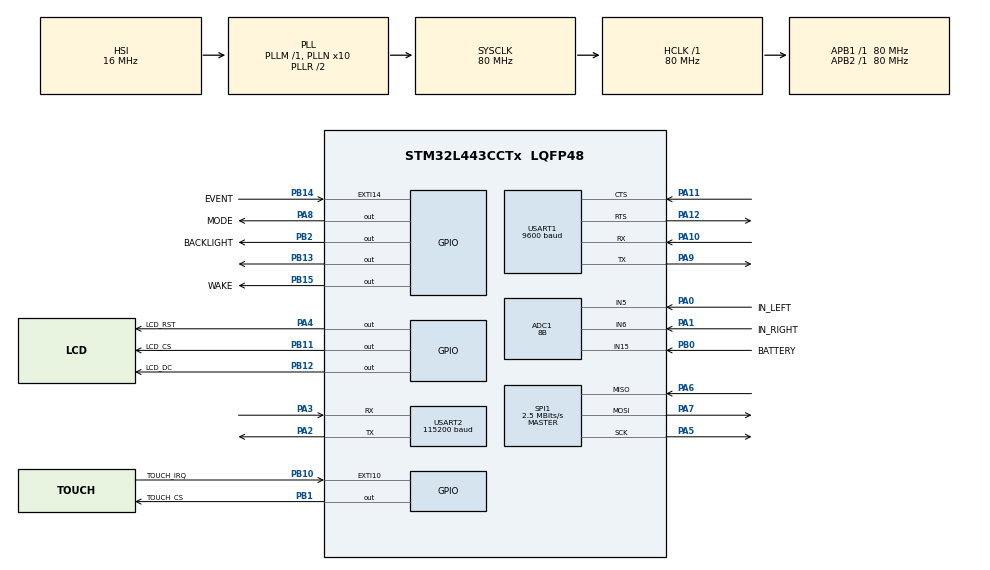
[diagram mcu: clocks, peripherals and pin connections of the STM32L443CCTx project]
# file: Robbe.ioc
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ADC1.Channel-1\#ChannelRegularConversion=ADC_CHANNEL_6
ADC1.EOCSelection=ADC_EOC_SINGLE_CONV
ADC1.ExternalTrigConv=ADC_EXTERNALTRIG_T2_TRGO
ADC1.NbrOfConversion=1
ADC1.NbrOfConversionFlag=1
ADC1.OffsetNumber-1\#ChannelRegularConversion=ADC_OFFSET_NONE
ADC1.Rank-1\#ChannelRegularConversion=1
ADC1.Resolution=ADC_RESOLUTION_8B
ADC1.SamplingTime-1\#ChannelRegularConversion=ADC_SAMPLETIME_2CYCLES_5
ADC1.master=1
Dma.ADC1.0.Direction=DMA_PERIPH_TO_MEMORY
Dma.ADC1.0.Instance=DMA1_Channel1
Dma.ADC1.0.MemDataAlignment=DMA_MDATAALIGN_BYTE
Dma.ADC1.0.MemInc=DMA_MINC_ENABLE
Dma.ADC1.0.Mode=DMA_NORMAL
Dma.ADC1.0.PeriphDataAlignment=DMA_PDATAALIGN_BYTE
Dma.ADC1.0.PeriphInc=DMA_PINC_DISABLE
Dma.ADC1.0.Priority=DMA_PRIORITY_LOW
Dma.Request0=ADC1
Mcu.Family=STM32L4
Mcu.Name=STM32L443CCTx
Mcu.Package=LQFP48
NVIC.DMA1_Channel1_IRQn=true\:0\:0\:false\:false\:true\:false\:true
NVIC.PriorityGroup=NVIC_PRIORITYGROUP_4
PA0.GPIO_Label=IN_LEFT
PA0.Signal=ADCx_IN5
PA1.GPIO_Label=IN_RIGHT
PA1.Signal=ADCx_IN6
PA10.Mode=Asynchronous
PA10.Signal=USART1_RX
PA11.Mode=CTS_RTS
PA11.Signal=USART1_CTS
PA12.Mode=CTS_RTS
PA12.Signal=USART1_RTS
PA13\ (JTMS-SWDIO).Mode=Serial_Wire
PA13\ (JTMS-SWDIO).Signal=SYS_JTMS-SWDIO
PA14\ (JTCK-SWCLK).Mode=Serial_Wire
PA14\ (JTCK-SWCLK).Signal=SYS_JTCK-SWCLK
PA2.Mode=Asynchronous
PA2.Signal=USART2_TX
PA3.Mode=Asynchronous
PA3.Signal=USART2_RX
PA4.GPIO_Label=LCD_RST
PA4.Signal=GPIO_Output
PA5.Mode=Full_Duplex_Master
PA5.Signal=SPI1_SCK
PA6.Mode=Full_Duplex_Master
PA6.Signal=SPI1_MISO
PA7.Mode=Full_Duplex_Master
PA7.Signal=SPI1_MOSI
PA8.GPIO_Label=MODE
PA8.GPIO_ModeDefaultOutputPP=GPIO_MODE_OUTPUT_OD
PA8.GPIO_PuPd=GPIO_PULLUP
PA8.PinState=GPIO_PIN_RESET
PA8.Signal=GPIO_Output
PA9.Mode=Asynchronous
PA9.Signal=USART1_TX
PB0.GPIO_Label=BATTERY
PB0.Signal=ADCx_IN15
PB1.GPIO_Label=TOUCH_CS
PB1.Signal=GPIO_Output
PB10.GPIO_Label=TOUCH_IRQ
PB10.GPIO_PuPd=GPIO_PULLUP
PB10.Signal=GPXTI10
PB11.GPIO_Label=LCD_CS
PB11.Signal=GPIO_Output
PB12.GPIO_Label=LCD_DC
PB12.Signal=GPIO_Output
PB13.GPIO_Speed=GPIO_SPEED_FREQ_VERY_HIGH
PB13.Signal=GPIO_Output
PB14.GPIO_Label=EVENT
PB14.Signal=GPXTI14
PB15.GPIO_Label=WAKE
PB15.GPIO_ModeDefaultOutputPP=GPIO_MODE_OUTPUT_OD
PB15.GPIO_PuPd=GPIO_PULLUP
PB15.PinState=GPIO_PIN_SET
PB15.Signal=GPIO_Output
PB2.GPIO_Label=BACKLIGHT
PB2.Signal=GPIO_Output
PH0-OSC_IN\ (PH0).Mode=HSE-External-Oscillator
PH0-OSC_IN\ (PH0).Signal=RCC_OSC_IN
PH1-OSC_OUT\ (PH1).Mode=HSE-External-Oscillator
PH1-OSC_OUT\ (PH1).Signal=RCC_OSC_OUT
ProjectManager.HeapSize=0x200
ProjectManager.StackSize=0x400
ProjectManager.TargetToolchain=SW4STM32
RCC.ADCFreq_Value=64000000
RCC.AHBFreq_Value=80000000
RCC.APB1Freq_Value=80000000
RCC.APB1TimFreq_Value=80000000
RCC.APB2Freq_Value=80000000
RCC.APB2TimFreq_Value=80000000
RCC.CortexFreq_Value=80000000
RCC.HCLKFreq_Value=80000000
RCC.HSE_VALUE=8000000
RCC.HSI48_VALUE=48000000
RCC.HSI_VALUE=16000000
RCC.LSE_VALUE=32768
RCC.MSI_VALUE=4000000
RCC.PLLN=10
RCC.PLLSourceVirtual=RCC_PLLSOURCE_HSI
RCC.SYSCLKFreq_VALUE=80000000
RCC.SYSCLKSource=RCC_SYSCLKSOURCE_PLLCLK
RCC.USBFreq_Value=64000000
RCC.VCOOutputFreq_Value=160000000
SH.ADCx_IN15.0=ADC1_IN15,IN15-Single-Ended
SH.ADCx_IN5.0=ADC1_IN5,IN5-Single-Ended
SH.ADCx_IN6.0=ADC1_IN6,IN6-Single-Ended
SPI1.BaudRatePrescaler=SPI_BAUDRATEPRESCALER_32
SPI1.CalculateBaudRate=2.5 MBits/s
SPI1.DataSize=SPI_DATASIZE_8BIT
SPI1.Direction=SPI_DIRECTION_2LINES
SPI1.Mode=SPI_MODE_MASTER
SPI1.VirtualType=VM_MASTER
TIM1.Period=60-1
TIM2.AutoReloadPreload=TIM_AUTORELOAD_PRELOAD_ENABLE
TIM2.CounterMode=TIM_COUNTERMODE_DOWN
TIM2.Period=100
TIM2.Prescaler=10000
TIM2.TIM_MasterOutputTrigger=TIM_TRGO_UPDATE
USART1.BaudRate=9600
USART1.VirtualMode-Asynchronous=VM_ASYNC
USART2.BaudRate=115200
USART2.VirtualMode-Asynchronous=VM_ASYNC
VP_TIM1_VS_ClockSourceINT.Mode=Internal
VP_TIM2_VS_ClockSourceINT.Mode=Internal
board=custom

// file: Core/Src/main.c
/* USER CODE BEGIN Header */
/**
  ******************************************************************************
  * @file           : main.c
  * @brief          : Main program body
  ******************************************************************************
  * @attention
  *
  * <h2><center>&copy; Copyright (c) 2021 STMicroelectronics.
  * All rights reserved.</center></h2>
  *
  * This software component is licensed by ST under BSD 3-Clause license,
  * the "License"; You may not use this file except in compliance with the
  * License. You may obtain a copy of the License at:
  *                        opensource.org/licenses/BSD-3-Clause
  *
  ******************************************************************************
  */
/* USER CODE END Header */
#include "main.h"

/* USER CODE BEGIN Includes */
#include "ili9341.h"
#include "test.h"
#include "connect.h"
#include <stdio.h>
//#include "ili9341_touch.h";
/* USER CODE END Includes */

/* USER CODE BEGIN PD */
#define PWM_HI (38)
#define PWM_LO (19)

// LED parameters
#define NUM_BPP (3)
#define NUM_PIXELS (24)
#define NUM_BYTES (NUM_BPP * NUM_PIXELS)

//led timing calculated for 80MHz clock speed
#define WSONEH	20
#define WSONEL	11
#define WSZEROH	10
#define WSZEROL	21

//led pins
#define LEDPORT	GPIOB
#define LEDPIN	GPIO_PIN_13

/* USER CODE END PD */

/* USER CODE BEGIN PM */
#define SETHIGH(x,y) ((x)->BSRR = (uint32_t)(y))
#define SETLOW(x,y) ((x)->BRR = (uint32_t)(y))
#define WSONE 	do{ SETHIGH(LEDPORT,LEDPIN); waitCycles(WSONEH); SETLOW(LEDPORT,LEDPIN); waitCycles(WSONEL);}while (0);
#define WSZERO 	do{ SETHIGH(LEDPORT,LEDPIN); waitCycles(WSZEROH); SETLOW(LEDPORT,LEDPIN); waitCycles(WSZEROL);}while (0);
/* USER CODE END PM */

ADC_HandleTypeDef hadc1;
DMA_HandleTypeDef hdma_adc1;

SPI_HandleTypeDef hspi1;

TIM_HandleTypeDef htim1;
TIM_HandleTypeDef htim2;

UART_HandleTypeDef huart1;
UART_HandleTypeDef huart2;

/* USER CODE BEGIN PV */
//variables for led effects
uint8_t red=130, blue, green;

//led enable, batterijbesparing
uint8_t ENABLE_LEDS=1;

//coordinates touch
uint16_t x, y;

//battery voltage
char *Ubat;
uint8_t ready=0;
//max value voor ingelezen waarde
uint16_t testValue=0;

//pointer voor adc
uint8_t pointer[80];

//led buffer
uint8_t ledBuffer[NUM_BYTES];

/* USER CODE END PV */

void SystemClock_Config(void);
static void MX_GPIO_Init(void);
static void MX_DMA_Init(void);
static void MX_SPI1_Init(void);
static void MX_USART1_UART_Init(void);
static void MX_ADC1_Init(void);
static void MX_USART2_UART_Init(void);
static void MX_TIM1_Init(void);
static void MX_TIM2_Init(void);
/* USER CODE BEGIN PFP */
void __attribute__((naked)) waitCycles ( unsigned long ulCount ) ;
void ledClearBuffer ( void );
void setLedColor ( uint8_t ledIndex , uint8_t r , uint8_t g , uint8_t b ) ;
void updateLed ( void ) ;
void Check_ADC ( void ) ;
void Led_Effect ( void ) ;
void LCD_DrawMenu ( void ) ;
void Check_Power ( void ) ;
/* USER CODE END PFP */

/* USER CODE BEGIN 0 */
#include <errno.h>
#include <sys/stat.h>
#include <sys/times.h>
#include <sys/unistd.h>

int _write ( int file , char *ptr , int len )
{
    HAL_StatusTypeDef xStatus ;
    switch ( file )
    {
    	case STDOUT_FILENO: /*stdout*/
    		xStatus = HAL_UART_Transmit ( &huart1 , ( uint8_t* ) ptr , len , HAL_MAX_DELAY ) ;
    		if ( xStatus != HAL_OK )
    		{
    			errno = EIO ;
    			return -1 ;
    		}
        break ;
    	case STDERR_FILENO: /* stderr */
    		xStatus = HAL_UART_Transmit ( &huart1 , ( uint8_t* ) ptr , len , HAL_MAX_DELAY ) ;
    		if ( xStatus != HAL_OK )
    		{
    			errno = EIO;
    			return -1 ;
    		}
    	break ;
    	default:
    		errno = EBADF ;
    		return -1 ;
    }
    return len ;
}
//volatile uint8_t ready = 0;
/*void HAL_ADC_ConvCpltCallback(ADC_HandleTypeDef* hadc) //functie wordt opgeroepen als conversie klaar is (callback)
{
    // Conversion Complete & DMA Transfer Complete As Well
    // So The AD_RES Is Now Updated & Let's Move IT To The PWM CCR1
    // Update The PWM Duty Cycle With Latest ADC Conversion Result

	HAL_ADC_Stop_DMA(&hadc1); //adc stond op continuous ingesteld
	//setLedColor(1, 0, 0, 0);
	//updateLed();
	ready = 1;
//	for(int i = 0; i<20; i++){
//		printf("int%d: %d \n\r",i, pointer[i]);
//	}
//	memset(pointer,'\0',20);
//	HAL_ADC_Start_DMA(&hadc3, (uint32_t*)&pointer[0], 20);
}*/
/* USER CODE END 0 */

int main(void)
{

  /* MCU Configuration--------------------------------------------------------*/

  /* Reset of all peripherals, Initializes the Flash interface and the Systick. */
  HAL_Init();

  /* Configure the system clock */
  SystemClock_Config();

  /* Initialize all configured peripherals */
  MX_GPIO_Init();
  MX_DMA_Init();
  MX_SPI1_Init();
  MX_USART1_UART_Init();
  MX_ADC1_Init();
  MX_USART2_UART_Init();
  MX_TIM1_Init();
  MX_TIM2_Init();
  /* USER CODE BEGIN 2 */
  //HAL_ADC_Start( &hadc1 );
  HAL_StatusTypeDef stat ;
  stat = HAL_ADC_Start_DMA ( &hadc1 , ( uint32_t* ) &pointer[0] , 80 ) ;
      if ( stat != HAL_OK )
      {
    	  //setLedColor ( 1 , 0 , 0 , 0 ) ; // (index, r, g, b)
    	  //updateLed ( ) ; //kleur op ledje(s) zetten
      }

      stat = HAL_TIM_Base_Start_IT ( &htim2 ) ;
      if ( stat != HAL_OK )
      {
    	  //setLedColor ( 1 , 0 , 0 , 0 ) ; // (index, g, r, b)
    	  //updateLed ( ) ; //kleur op ledje(s) zetten
      }

	  //alles initialiseren
	  ILI9341_Unselect ( ) ;
	  ILI9341_TouchUnselect ( ) ;
	  ILI9341_LCD_Init ( ) ;
	  //ILI9341_TouchSelect();

	  HAL_GPIO_WritePin ( BACKLIGHT_GPIO_Port , BACKLIGHT_Pin , GPIO_PIN_SET ) ;
	  HAL_GPIO_WritePin ( MODE_GPIO_Port , MODE_Pin , GPIO_PIN_RESET ) ;

	  LCD_FillScreen ( LCD_BLACK ) ; //"clear" screen
	  ledClearBuffer ( ) ; //inhoud buffer = cleared
	  //alle leds uit
	  for ( uint8_t i = 1 ; i<25 ; i++ )
	  {
	  		setLedColor ( i , 0 , 0 , 0 ) ;
	  		updateLed ( ) ;
	  }
  /* USER CODE END 2 */

  /* Infinite loop */
  while (1)
  {

    /* USER CODE BEGIN 3 */

	//Check_ADC();
	LCD_DrawMenu ( ) ;
	Check_Power ( ) ;
	Led_Effect ( ) ;

	//Even wachten
	HAL_Delay ( 100 ) ;
  }
  /* USER CODE END 3 */
}

void SystemClock_Config(void)
{
  RCC_OscInitTypeDef RCC_OscInitStruct = {0};
  RCC_ClkInitTypeDef RCC_ClkInitStruct = {0};
  RCC_PeriphCLKInitTypeDef PeriphClkInit = {0};

  /** Initializes the RCC Oscillators according to the specified parameters
  * in the RCC_OscInitTypeDef structure.
  */
  RCC_OscInitStruct.OscillatorType = RCC_OSCILLATORTYPE_HSI;
  RCC_OscInitStruct.HSIState = RCC_HSI_ON;
  RCC_OscInitStruct.HSICalibrationValue = RCC_HSICALIBRATION_DEFAULT;
  RCC_OscInitStruct.PLL.PLLState = RCC_PLL_ON;
  RCC_OscInitStruct.PLL.PLLSource = RCC_PLLSOURCE_HSI;
  RCC_OscInitStruct.PLL.PLLM = 1;
  RCC_OscInitStruct.PLL.PLLN = 10;
  RCC_OscInitStruct.PLL.PLLP = RCC_PLLP_DIV7;
  RCC_OscInitStruct.PLL.PLLQ = RCC_PLLQ_DIV2;
  RCC_OscInitStruct.PLL.PLLR = RCC_PLLR_DIV2;
  if (HAL_RCC_OscConfig(&RCC_OscInitStruct) != HAL_OK)
  {
    Error_Handler();
  }
  /** Initializes the CPU, AHB and APB buses clocks
  */
  RCC_ClkInitStruct.ClockType = RCC_CLOCKTYPE_HCLK|RCC_CLOCKTYPE_SYSCLK
                              |RCC_CLOCKTYPE_PCLK1|RCC_CLOCKTYPE_PCLK2;
  RCC_ClkInitStruct.SYSCLKSource = RCC_SYSCLKSOURCE_PLLCLK;
  RCC_ClkInitStruct.AHBCLKDivider = RCC_SYSCLK_DIV1;
  RCC_ClkInitStruct.APB1CLKDivider = RCC_HCLK_DIV1;
  RCC_ClkInitStruct.APB2CLKDivider = RCC_HCLK_DIV1;

  if (HAL_RCC_ClockConfig(&RCC_ClkInitStruct, FLASH_LATENCY_4) != HAL_OK)
  {
    Error_Handler();
  }
  PeriphClkInit.PeriphClockSelection = RCC_PERIPHCLK_USART1|RCC_PERIPHCLK_USART2
                              |RCC_PERIPHCLK_ADC;
  PeriphClkInit.Usart1ClockSelection = RCC_USART1CLKSOURCE_PCLK2;
  PeriphClkInit.Usart2ClockSelection = RCC_USART2CLKSOURCE_PCLK1;
  PeriphClkInit.AdcClockSelection = RCC_ADCCLKSOURCE_PLLSAI1;
  PeriphClkInit.PLLSAI1.PLLSAI1Source = RCC_PLLSOURCE_HSI;
  PeriphClkInit.PLLSAI1.PLLSAI1M = 1;
  PeriphClkInit.PLLSAI1.PLLSAI1N = 8;
  PeriphClkInit.PLLSAI1.PLLSAI1P = RCC_PLLP_DIV7;
  PeriphClkInit.PLLSAI1.PLLSAI1Q = RCC_PLLQ_DIV2;
  PeriphClkInit.PLLSAI1.PLLSAI1R = RCC_PLLR_DIV2;
  PeriphClkInit.PLLSAI1.PLLSAI1ClockOut = RCC_PLLSAI1_ADC1CLK;
  if (HAL_RCCEx_PeriphCLKConfig(&PeriphClkInit) != HAL_OK)
  {
    Error_Handler();
  }
  /** Configure the main internal regulator output voltage
  */
  if (HAL_PWREx_ControlVoltageScaling(PWR_REGULATOR_VOLTAGE_SCALE1) != HAL_OK)
  {
    Error_Handler();
  }
}

static void MX_ADC1_Init(void)
{

  ADC_ChannelConfTypeDef sConfig = {0};

  /** Common config
  */
  hadc1.Instance = ADC1;
  hadc1.Init.ClockPrescaler = ADC_CLOCK_ASYNC_DIV1;
  hadc1.Init.Resolution = ADC_RESOLUTION_8B;
  hadc1.Init.DataAlign = ADC_DATAALIGN_RIGHT;
  hadc1.Init.ScanConvMode = ADC_SCAN_DISABLE;
  hadc1.Init.EOCSelection = ADC_EOC_SINGLE_CONV;
  hadc1.Init.LowPowerAutoWait = DISABLE;
  hadc1.Init.ContinuousConvMode = DISABLE;
  hadc1.Init.NbrOfConversion = 1;
  hadc1.Init.DiscontinuousConvMode = DISABLE;
  hadc1.Init.ExternalTrigConv = ADC_EXTERNALTRIG_T2_TRGO;
  hadc1.Init.ExternalTrigConvEdge = ADC_EXTERNALTRIGCONVEDGE_RISING;
  hadc1.Init.DMAContinuousRequests = DISABLE;
  hadc1.Init.Overrun = ADC_OVR_DATA_PRESERVED;
  hadc1.Init.OversamplingMode = DISABLE;
  if (HAL_ADC_Init(&hadc1) != HAL_OK)
  {
    Error_Handler();
  }
  /** Configure Regular Channel
  */
  sConfig.Channel = ADC_CHANNEL_6;
  sConfig.Rank = ADC_REGULAR_RANK_1;
  sConfig.SamplingTime = ADC_SAMPLETIME_2CYCLES_5;
  sConfig.SingleDiff = ADC_SINGLE_ENDED;
  sConfig.OffsetNumber = ADC_OFFSET_NONE;
  sConfig.Offset = 0;
  if (HAL_ADC_ConfigChannel(&hadc1, &sConfig) != HAL_OK)
  {
    Error_Handler();
  }

}

static void MX_SPI1_Init(void)
{

  /* SPI1 parameter configuration*/
  hspi1.Instance = SPI1;
  hspi1.Init.Mode = SPI_MODE_MASTER;
  hspi1.Init.Direction = SPI_DIRECTION_2LINES;
  hspi1.Init.DataSize = SPI_DATASIZE_8BIT;
  hspi1.Init.CLKPolarity = SPI_POLARITY_LOW;
  hspi1.Init.CLKPhase = SPI_PHASE_1EDGE;
  hspi1.Init.NSS = SPI_NSS_SOFT;
  hspi1.Init.BaudRatePrescaler = SPI_BAUDRATEPRESCALER_32;
  hspi1.Init.FirstBit = SPI_FIRSTBIT_MSB;
  hspi1.Init.TIMode = SPI_TIMODE_DISABLE;
  hspi1.Init.CRCCalculation = SPI_CRCCALCULATION_DISABLE;
  hspi1.Init.CRCPolynomial = 7;
  hspi1.Init.CRCLength = SPI_CRC_LENGTH_DATASIZE;
  hspi1.Init.NSSPMode = SPI_NSS_PULSE_ENABLE;
  if (HAL_SPI_Init(&hspi1) != HAL_OK)
  {
    Error_Handler();
  }

}

static void MX_TIM1_Init(void)
{

  TIM_ClockConfigTypeDef sClockSourceConfig = {0};
  TIM_MasterConfigTypeDef sMasterConfig = {0};

  htim1.Instance = TIM1;
  htim1.Init.Prescaler = 0;
  htim1.Init.CounterMode = TIM_COUNTERMODE_UP;
  htim1.Init.Period = 60-1;
  htim1.Init.ClockDivision = TIM_CLOCKDIVISION_DIV1;
  htim1.Init.RepetitionCounter = 0;
  htim1.Init.AutoReloadPreload = TIM_AUTORELOAD_PRELOAD_DISABLE;
  if (HAL_TIM_Base_Init(&htim1) != HAL_OK)
  {
    Error_Handler();
  }
  sClockSourceConfig.ClockSource = TIM_CLOCKSOURCE_INTERNAL;
  if (HAL_TIM_ConfigClockSource(&htim1, &sClockSourceConfig) != HAL_OK)
  {
    Error_Handler();
  }
  sMasterConfig.MasterOutputTrigger = TIM_TRGO_RESET;
  sMasterConfig.MasterOutputTrigger2 = TIM_TRGO2_RESET;
  sMasterConfig.MasterSlaveMode = TIM_MASTERSLAVEMODE_DISABLE;
  if (HAL_TIMEx_MasterConfigSynchronization(&htim1, &sMasterConfig) != HAL_OK)
  {
    Error_Handler();
  }

}

static void MX_TIM2_Init(void)
{

  TIM_ClockConfigTypeDef sClockSourceConfig = {0};
  TIM_MasterConfigTypeDef sMasterConfig = {0};

  htim2.Instance = TIM2;
  htim2.Init.Prescaler = 10000;
  htim2.Init.CounterMode = TIM_COUNTERMODE_DOWN;
  htim2.Init.Period = 100;
  htim2.Init.ClockDivision = TIM_CLOCKDIVISION_DIV1;
  htim2.Init.AutoReloadPreload = TIM_AUTORELOAD_PRELOAD_ENABLE;
  if (HAL_TIM_Base_Init(&htim2) != HAL_OK)
  {
    Error_Handler();
  }
  sClockSourceConfig.ClockSource = TIM_CLOCKSOURCE_INTERNAL;
  if (HAL_TIM_ConfigClockSource(&htim2, &sClockSourceConfig) != HAL_OK)
  {
    Error_Handler();
  }
  sMasterConfig.MasterOutputTrigger = TIM_TRGO_UPDATE;
  sMasterConfig.MasterSlaveMode = TIM_MASTERSLAVEMODE_DISABLE;
  if (HAL_TIMEx_MasterConfigSynchronization(&htim2, &sMasterConfig) != HAL_OK)
  {
    Error_Handler();
  }

}

static void MX_USART1_UART_Init(void)
{

  huart1.Instance = USART1;
  huart1.Init.BaudRate = 9600;
  huart1.Init.WordLength = UART_WORDLENGTH_8B;
  huart1.Init.StopBits = UART_STOPBITS_1;
  huart1.Init.Parity = UART_PARITY_NONE;
  huart1.Init.Mode = UART_MODE_TX_RX;
  huart1.Init.HwFlowCtl = UART_HWCONTROL_RTS_CTS;
  huart1.Init.OverSampling = UART_OVERSAMPLING_16;
  huart1.Init.OneBitSampling = UART_ONE_BIT_SAMPLE_DISABLE;
  huart1.AdvancedInit.AdvFeatureInit = UART_ADVFEATURE_NO_INIT;
  if (HAL_UART_Init(&huart1) != HAL_OK)
  {
    Error_Handler();
  }

}

static void MX_USART2_UART_Init(void)
{

  huart2.Instance = USART2;
  huart2.Init.BaudRate = 115200;
  huart2.Init.WordLength = UART_WORDLENGTH_8B;
  huart2.Init.StopBits = UART_STOPBITS_1;
  huart2.Init.Parity = UART_PARITY_NONE;
  huart2.Init.Mode = UART_MODE_TX_RX;
  huart2.Init.HwFlowCtl = UART_HWCONTROL_NONE;
  huart2.Init.OverSampling = UART_OVERSAMPLING_16;
  huart2.Init.OneBitSampling = UART_ONE_BIT_SAMPLE_DISABLE;
  huart2.AdvancedInit.AdvFeatureInit = UART_ADVFEATURE_NO_INIT;
  if (HAL_UART_Init(&huart2) != HAL_OK)
  {
    Error_Handler();
  }

}

static void MX_DMA_Init(void)
{

  /* DMA controller clock enable */
  __HAL_RCC_DMA1_CLK_ENABLE();

  /* DMA interrupt init */
  /* DMA1_Channel1_IRQn interrupt configuration */
  HAL_NVIC_SetPriority(DMA1_Channel1_IRQn, 0, 0);
  HAL_NVIC_EnableIRQ(DMA1_Channel1_IRQn);

}

static void MX_GPIO_Init(void)
{
  GPIO_InitTypeDef GPIO_InitStruct = {0};

  /* GPIO Ports Clock Enable */
  __HAL_RCC_GPIOH_CLK_ENABLE();
  __HAL_RCC_GPIOA_CLK_ENABLE();
  __HAL_RCC_GPIOB_CLK_ENABLE();

  /*Configure GPIO pin Output Level */
  HAL_GPIO_WritePin(GPIOA, LCD_RST_Pin|MODE_Pin, GPIO_PIN_RESET);

  /*Configure GPIO pin Output Level */
  HAL_GPIO_WritePin(GPIOB, TOUCH_CS_Pin|BACKLIGHT_Pin|LCD_CS_Pin|LCD_DC_Pin
                          |GPIO_PIN_13, GPIO_PIN_RESET);

  /*Configure GPIO pin Output Level */
  HAL_GPIO_WritePin(WAKE_GPIO_Port, WAKE_Pin, GPIO_PIN_SET);

  /*Configure GPIO pin : LCD_RST_Pin */
  GPIO_InitStruct.Pin = LCD_RST_Pin;
  GPIO_InitStruct.Mode = GPIO_MODE_OUTPUT_PP;
  GPIO_InitStruct.Pull = GPIO_NOPULL;
  GPIO_InitStruct.Speed = GPIO_SPEED_FREQ_LOW;
  HAL_GPIO_Init(LCD_RST_GPIO_Port, &GPIO_InitStruct);

  /*Configure GPIO pins : TOUCH_CS_Pin BACKLIGHT_Pin LCD_CS_Pin LCD_DC_Pin */
  GPIO_InitStruct.Pin = TOUCH_CS_Pin|BACKLIGHT_Pin|LCD_CS_Pin|LCD_DC_Pin;
  GPIO_InitStruct.Mode = GPIO_MODE_OUTPUT_PP;
  GPIO_InitStruct.Pull = GPIO_NOPULL;
  GPIO_InitStruct.Speed = GPIO_SPEED_FREQ_LOW;
  HAL_GPIO_Init(GPIOB, &GPIO_InitStruct);

  /*Configure GPIO pin : TOUCH_IRQ_Pin */
  GPIO_InitStruct.Pin = TOUCH_IRQ_Pin;
  GPIO_InitStruct.Mode = GPIO_MODE_IT_RISING;
  GPIO_InitStruct.Pull = GPIO_PULLUP;
  HAL_GPIO_Init(TOUCH_IRQ_GPIO_Port, &GPIO_InitStruct);

  /*Configure GPIO pin : PB13 */
  GPIO_InitStruct.Pin = GPIO_PIN_13;
  GPIO_InitStruct.Mode = GPIO_MODE_OUTPUT_PP;
  GPIO_InitStruct.Pull = GPIO_NOPULL;
  GPIO_InitStruct.Speed = GPIO_SPEED_FREQ_VERY_HIGH;
  HAL_GPIO_Init(GPIOB, &GPIO_InitStruct);

  /*Configure GPIO pin : EVENT_Pin */
  GPIO_InitStruct.Pin = EVENT_Pin;
  GPIO_InitStruct.Mode = GPIO_MODE_IT_RISING;
  GPIO_InitStruct.Pull = GPIO_NOPULL;
  HAL_GPIO_Init(EVENT_GPIO_Port, &GPIO_InitStruct);

  /*Configure GPIO pin : WAKE_Pin */
  GPIO_InitStruct.Pin = WAKE_Pin;
  GPIO_InitStruct.Mode = GPIO_MODE_OUTPUT_OD;
  GPIO_InitStruct.Pull = GPIO_PULLUP;
  GPIO_InitStruct.Speed = GPIO_SPEED_FREQ_LOW;
  HAL_GPIO_Init(WAKE_GPIO_Port, &GPIO_InitStruct);

  /*Configure GPIO pin : MODE_Pin */
  GPIO_InitStruct.Pin = MODE_Pin;
  GPIO_InitStruct.Mode = GPIO_MODE_OUTPUT_OD;
  GPIO_InitStruct.Pull = GPIO_PULLUP;
  GPIO_InitStruct.Speed = GPIO_SPEED_FREQ_LOW;
  HAL_GPIO_Init(MODE_GPIO_Port, &GPIO_InitStruct);

}

/* USER CODE BEGIN 4 */
void __attribute__((naked)) waitCycles ( unsigned long ulCount )
{
    __asm("    subs    r0, #1\n"
          "    bne     waitCycles\n"
          "    bx      lr");
}

void ledClearBuffer ( void )
{
	memset ( ledBuffer , 0 , NUM_BYTES ) ;
}

void setLedColor ( uint8_t ledIndex , uint8_t r , uint8_t g , uint8_t b )
{
	ledIndex-- ;	//for people who ignore 0 -> suckers
	ledBuffer [ ledIndex * 3 ] = g ;
	ledBuffer [ (ledIndex * 3) + 1 ] = r ;
	ledBuffer [ (ledIndex * 3) + 2 ] = b ;
}

void updateLed ( void )
{
	uint8_t tempByte = 0x00 ;
	//time sensitive code, disable incoming interrupt requests
	__disable_irq ( ) ;
	//for every led
	for ( uint8_t i = 0 ; i < NUM_PIXELS ; i++ ) // 24 keer
	{
		//for every color
		for ( uint8_t j = 0 ; j < NUM_BPP ; j++ ) // 3 keer
		{
			tempByte = ledBuffer [ ( i * 3 ) + j ] ;
			//for every bit
			for ( uint8_t q = 0 ; q < 8 ; q++ )
			{
				if ( tempByte & ( 0x80 >> q ) )
				{
					WSONE
				}
				else
				{
					WSZERO
				}
			}
		}
	}
	__enable_irq ( ) ;
	HAL_Delay ( 1 ) ;
}

void Check_ADC()
{
	if ( ready )
	{
		Check_Power ( ) ;
		testValue = 0 ;
		//40MHz is frequentie bass
		//minstens het dubbele van gewenste frequentie gebruiken => 80
		//80MHz clock / (10.000 (prescaler) * 100 (Counter Period)) = 80Hz
		//80 samples tegen 80Hz => per seconde in deze loop komen
		for ( uint8_t i = 0 ; i < 80 ; i++ )//80 waarden binnenlezen en gemiddelde berekenen
		{
			testValue = testValue + pointer [ i ] ;
		}
		testValue = testValue / 80 ;

		//LCD_WriteString(0, 20, &testValue, Font_11x18, LCD_WHITE, LCD_BLACK);
		//waarde omzetten naar string (om op lcd te zetten)
		itoa ( testValue , pointer , 10 ) ;// 10 = decimal
		/*if(ENABLE_LEDS==1)
		{
			setLedColor( 2, 0, 0, pointer);
			updateLed();
		}
		else
		{
			for(uint8_t i = 1; i<25; i++)
			{
				setLedColor( i, 0, 0, 0);
				updateLed();
			}
		}*/
		LCD_WriteString (150 , 110 , pointer , Font_11x18 , LCD_WHITE , LCD_BLACK ) ;
		ready = 0 ;
		HAL_ADC_Start_DMA ( &hadc1 , ( uint32_t* ) &pointer [ 0 ] , 80 ) ;
	}

	// Starten van de ADC Conversie
	HAL_ADC_Start ( &hadc1 ) ;
	// Wachten tot de conversie gedaan is
	// timeout=1mS maar kijken we niet na
	HAL_ADC_PollForConversion ( &hadc1 , 1 ) ;
	// ADC waarde inlezen en printen
	uint16_t result = HAL_ADC_GetValue ( &hadc1 ) ;
	//printf("result = %d\r\n", result);
	Check_Power ( ) ;
}

void Led_Effect()
{
	if ( ENABLE_LEDS == 1 )
	{
		for (/*var already declared globally*/; red >= 0 , blue < 130 ; red-- , blue++ )
		{
			for ( uint8_t led_row = 1 ; led_row <= 12 ; led_row = led_row + 2 )
			{
				if ( ENABLE_LEDS == 1 )
				{
					setLedColor ( led_row , red , 0 , blue ) ;
					setLedColor ( led_row + 1 , red , 0 , blue ) ;
					setLedColor ( led_row + 12, red , 0 , blue ) ;
					setLedColor ( led_row + 13, red , 0 , blue ) ;
					updateLed ( ) ;
					Check_Power ( ) ;
					HAL_Delay ( 1 ) ;
				}
				else
				{
					for ( uint8_t i = 1 ; i < 25 ; i++ )
					{
						setLedColor ( i , 0 , 0 , 0 ) ;
						updateLed ( ) ;
					}
				}
			}
		}
		Check_Power ( ) ;

		for (/*var already declared globally*/; blue >= 0 , green < 130 ; blue-- , green++ )
		{
			for ( uint8_t led_row = 1 ; led_row <= 12 ; led_row = led_row + 2 )
			{
				if ( ENABLE_LEDS == 1 )
				{
					setLedColor ( led_row , 0 , green , blue ) ;
					setLedColor ( led_row + 1 , 0 , green , blue ) ;
					setLedColor ( led_row + 12 , 0 , green , blue ) ;
					setLedColor ( led_row + 13 , 0 , green , blue ) ;
					updateLed ( ) ;
					Check_Power ( ) ;
					HAL_Delay ( 1 ) ;
				}
				else
				{
					Check_Power ( ) ;
					for ( uint8_t i = 1 ; i < 25 ; i++ )
					{
						setLedColor ( i , 0 , 0 , 0 ) ;
						updateLed ( ) ;
					}
				}
			}
		}
		Check_Power ( ) ;

		for (/*var already declared globally*/; green >= 0 , red < 130 ; green-- , red++ )
		{
			for ( uint8_t led_row = 1 ; led_row <= 12 ; led_row = led_row + 2 )
			{
				if( ENABLE_LEDS == 1 )
				{
					setLedColor ( led_row , red , green , 0 ) ;
					setLedColor ( led_row + 1 , red , green , 0 ) ;
					setLedColor ( led_row + 12 , red , green , 0 ) ;
					setLedColor ( led_row+13 , red , green , 0 ) ;
					updateLed ( ) ;
					Check_Power ( ) ;
					HAL_Delay ( 1 ) ;
				}
				else
				{
					Check_Power ( ) ;
					for ( uint8_t i = 1 ; i < 25 ; i++ )
					{
						setLedColor ( i , 0 , 0 , 0 ) ;
						updateLed ( ) ;
					}
				}
			}
		}
		Check_Power ( ) ;

	}
	else
	{
		Check_Power ( ) ;
		for ( uint8_t i = 1 ; i < 25 ; i++ )
		{
			setLedColor ( i , 0 , 0 , 0 ) ;
			updateLed ( ) ;
		}
	}
}

void LCD_DrawMenu()
{
	LCD_DrawVLine ( 59 , 0 , 59 , 28 , LCD_YELLOW ) ;
	LCD_DrawHLine ( 0 , 28 , 59 , 28 , LCD_YELLOW ) ;
	LCD_WriteString ( 4 , 6 , "Song:" , Font_11x18 , LCD_WHITE , LCD_BLACK ) ;
	LCD_WriteString ( 65 , 11 , "Life is a Highway - Rascal Flatts" , Font_7x10 , LCD_WHITE , LCD_BLACK ) ;
	LCD_DrawHLine ( 0 , 80 , 320 , 80 , LCD_YELLOW ) ;
	LCD_DrawVLine ( 86 , 80 , 86 , 160 , LCD_YELLOW ) ;

	Check_Power ( ) ;

	LCD_DrawHLine ( 101 , 95 , 228 , 95 , LCD_YELLOW ) ;
	LCD_DrawHLine ( 101 , 145 , 228 , 145 , LCD_YELLOW ) ;

	LCD_DrawVLine ( 101 , 95 , 101 , 144 , LCD_YELLOW ) ;
	LCD_DrawVLine ( 229 , 95 , 229 , 144 , LCD_YELLOW ) ;

	Check_Power ( ) ;

	LCD_DrawVLine ( 244 , 80 , 244 , 160 , LCD_YELLOW ) ;
	LCD_DrawHLine ( 0 , 160 , 320 , 160 , LCD_YELLOW ) ;
	LCD_WriteString ( 18 , 105 , "LED" , Font_16x26 , LCD_WHITE , LCD_BLACK ) ;
	LCD_WriteString ( 247 , 105 , "!LED" , Font_16x26 , LCD_WHITE , LCD_BLACK ) ;
	LCD_WriteString ( 35 , 190 , "+" , Font_16x26 , LCD_WHITE , LCD_BLACK ) ;
	LCD_WriteString ( 80 , 190 , "<<" , Font_16x26 , LCD_WHITE , LCD_BLACK ) ;
	LCD_WriteString ( 143 , 190 , "PP" , Font_16x26 , LCD_WHITE , LCD_BLACK ) ;
	LCD_WriteString ( 207 , 190 , ">>" , Font_16x26 , LCD_WHITE , LCD_BLACK ) ;
	LCD_WriteString ( 273 , 190 , "-" , Font_16x26 , LCD_WHITE , LCD_BLACK ) ;

	/*
	Check_Power();
	LCD_WriteString(4, 165, "Effect:", Font_11x18, LCD_WHITE, LCD_BLACK);

	LCD_DrawHLine(19,190,60,190,LCD_YELLOW);
	LCD_DrawVLine(20,190,20,225,LCD_YELLOW);
	LCD_WriteString(35, 200, "1", Font_11x18, LCD_WHITE, LCD_BLACK);
	LCD_DrawHLine(20,225,60,225,LCD_YELLOW);
	LCD_DrawVLine(60,190,60,225,LCD_YELLOW);

	LCD_DrawHLine(134,190,175,190,LCD_YELLOW);
	LCD_DrawVLine(135,190,175,225,LCD_YELLOW);
	LCD_WriteString(150, 200, "2", Font_11x18, LCD_WHITE, LCD_BLACK);
	LCD_DrawHLine(135,225,175,225,LCD_YELLOW);
	LCD_DrawVLine(175,190,175,225,LCD_YELLOW);

	Check_Power();

	LCD_DrawHLine(257,190,298,190,LCD_YELLOW);
	LCD_DrawVLine(258,190,298,225,LCD_YELLOW);
	LCD_WriteString(273, 200, "3", Font_11x18, LCD_WHITE, LCD_BLACK);
	LCD_DrawHLine(258,225,298,225,LCD_YELLOW);
	LCD_DrawVLine(298,190,298,225,LCD_YELLOW);*/
}

void Check_Power()
{
	if ( LCD_TGetC ( &x , &y ) )
	{
		if ( x > 80 && x < 160 && y > 0 && y < 80 )
		{
			//HAL_GPIO_WritePin(LEDPORT, LEDPIN, RESET);
			ENABLE_LEDS ^= 1UL << 1 ;
			HAL_Delay ( 200 ) ;
		}

		if ( x > 95 && x < 145 && y > 101 && y < 240 )
		{
			HAL_GPIO_TogglePin ( BACKLIGHT_GPIO_Port , BACKLIGHT_Pin ) ;
			HAL_Delay ( 500 ) ;
		}

		if ( x > 80 && x < 160 && y > 244 && y < 320 )
		{
			//HAL_GPIO_WritePin(LEDPORT, LEDPIN, SET);
			ENABLE_LEDS ^= 1UL << 1 ;
			HAL_Delay ( 200 ) ;
		}
	}
}
/* USER CODE END 4 */

void Error_Handler(void)
{
  __disable_irq();
  while (1)
  {
  }
}

/************************ (C) COPYRIGHT STMicroelectronics *****END OF FILE****/
